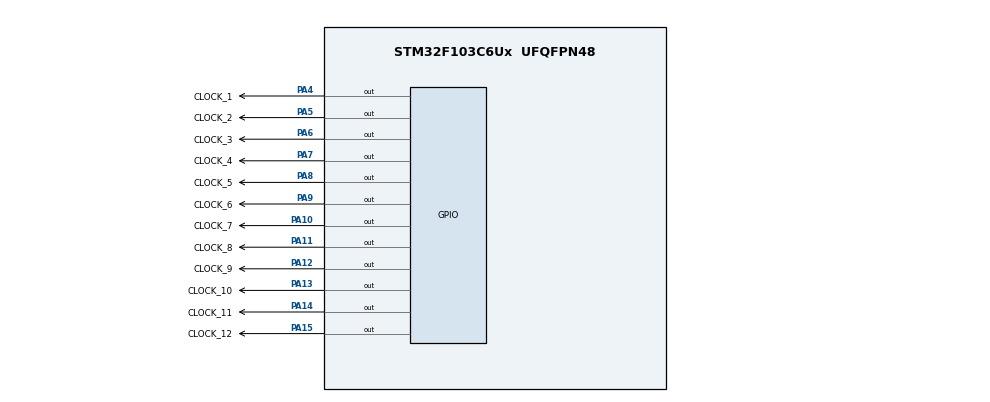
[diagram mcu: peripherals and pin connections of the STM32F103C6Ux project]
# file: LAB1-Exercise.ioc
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Mcu.Family=STM32F1
Mcu.Name=STM32F103C6Ux
Mcu.Package=UFQFPN48
NVIC.PriorityGroup=NVIC_PRIORITYGROUP_4
PA10.GPIO_Label=CLOCK_7
PA10.Signal=GPIO_Output
PA11.GPIO_Label=CLOCK_8
PA11.Signal=GPIO_Output
PA12.GPIO_Label=CLOCK_9
PA12.Signal=GPIO_Output
PA13.GPIO_Label=CLOCK_10
PA13.Signal=GPIO_Output
PA14.GPIO_Label=CLOCK_11
PA14.Signal=GPIO_Output
PA15.GPIO_Label=CLOCK_12
PA15.Signal=GPIO_Output
PA4.GPIO_Label=CLOCK_1
PA4.Signal=GPIO_Output
PA5.GPIO_Label=CLOCK_2
PA5.Signal=GPIO_Output
PA6.GPIO_Label=CLOCK_3
PA6.Signal=GPIO_Output
PA7.GPIO_Label=CLOCK_4
PA7.Signal=GPIO_Output
PA8.GPIO_Label=CLOCK_5
PA8.Signal=GPIO_Output
PA9.GPIO_Label=CLOCK_6
PA9.Signal=GPIO_Output
ProjectManager.HeapSize=0x200
ProjectManager.StackSize=0x400
ProjectManager.TargetToolchain=STM32CubeIDE
RCC.APB1Freq_Value=8000000
RCC.APB2Freq_Value=8000000
VP_SYS_VS_ND.Mode=No_Debug
board=custom

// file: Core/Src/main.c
/* USER CODE BEGIN Header */
/**
  ******************************************************************************
  * @file           : main.c
  * @brief          : Main program body - Exercise 9 (Clockwise OFF)
  ******************************************************************************
  * @attention
  *
  * Copyright (c) 2025.
  * All rights reserved.
  *
  ******************************************************************************
  */
/* USER CODE END Header */
#include "main.h"

void SystemClock_Config(void);
static void MX_GPIO_Init(void);

/* USER CODE BEGIN PFP */
void setNumberOnClock(int num);
void clearNumberOnClock(int num);
void setAllClock(void);
/* USER CODE END PFP */

/* USER CODE BEGIN PV */
int leds[12] = {
    CLOCK_1_Pin, CLOCK_2_Pin, CLOCK_3_Pin, CLOCK_4_Pin,
    CLOCK_5_Pin, CLOCK_6_Pin, CLOCK_7_Pin, CLOCK_8_Pin,
    CLOCK_9_Pin, CLOCK_10_Pin, CLOCK_11_Pin, CLOCK_12_Pin
};
/* USER CODE END PV */

/* USER CODE BEGIN 0 */
void setNumberOnClock(int num) {
    if (num < 0 || num > 11) return;
    HAL_GPIO_WritePin(GPIOA, leds[num], GPIO_PIN_SET);   // bật LED num
}

void clearNumberOnClock(int num) {
    if (num < 0 || num > 11) return;
    HAL_GPIO_WritePin(GPIOA, leds[num], GPIO_PIN_RESET); // tắt LED num
}

void setAllClock(void) {
    for (int i = 0; i < 12; i++) {
        HAL_GPIO_WritePin(GPIOA, leds[i], GPIO_PIN_SET); // bật tất cả LED
    }
}
/* USER CODE END 0 */

int main(void)
{
  HAL_Init();
  SystemClock_Config();
  MX_GPIO_Init();

  /* USER CODE BEGIN 2 */
  setAllClock(); // ban đầu bật sáng hết LED
  /* USER CODE END 2 */

  while (1)
  {
    /* USER CODE BEGIN 3 */
    for (int i = 0; i < 12; i++) {   // chạy 0 → 11 theo chiều kim đồng hồ
      clearNumberOnClock(i);        // tắt LED i
      HAL_Delay(1000);              // delay 1 giây
    }

    // Sau khi tắt hết -> bật lại toàn bộ và lặp lại
    setAllClock();
    HAL_Delay(1000);
    /* USER CODE END 3 */
  }
}

void SystemClock_Config(void)
{
  RCC_OscInitTypeDef RCC_OscInitStruct = {0};
  RCC_ClkInitTypeDef RCC_ClkInitStruct = {0};

  RCC_OscInitStruct.OscillatorType = RCC_OSCILLATORTYPE_HSI;
  RCC_OscInitStruct.HSIState = RCC_HSI_ON;
  RCC_OscInitStruct.HSICalibrationValue = RCC_HSICALIBRATION_DEFAULT;
  RCC_OscInitStruct.PLL.PLLState = RCC_PLL_NONE;
  if (HAL_RCC_OscConfig(&RCC_OscInitStruct) != HAL_OK)
    Error_Handler();

  RCC_ClkInitStruct.ClockType = RCC_CLOCKTYPE_HCLK|RCC_CLOCKTYPE_SYSCLK
                              |RCC_CLOCKTYPE_PCLK1|RCC_CLOCKTYPE_PCLK2;
  RCC_ClkInitStruct.SYSCLKSource = RCC_SYSCLKSOURCE_HSI;
  RCC_ClkInitStruct.AHBCLKDivider = RCC_SYSCLK_DIV1;
  RCC_ClkInitStruct.APB1CLKDivider = RCC_HCLK_DIV1;
  RCC_ClkInitStruct.APB2CLKDivider = RCC_HCLK_DIV1;
  if (HAL_RCC_ClockConfig(&RCC_ClkInitStruct, FLASH_LATENCY_0) != HAL_OK)
    Error_Handler();
}

static void MX_GPIO_Init(void)
{
  GPIO_InitTypeDef GPIO_InitStruct = {0};
  __HAL_RCC_GPIOA_CLK_ENABLE();

  GPIO_InitStruct.Pin = CLOCK_1_Pin|CLOCK_2_Pin|CLOCK_3_Pin|CLOCK_4_Pin|
                        CLOCK_5_Pin|CLOCK_6_Pin|CLOCK_7_Pin|CLOCK_8_Pin|
                        CLOCK_9_Pin|CLOCK_10_Pin|CLOCK_11_Pin|CLOCK_12_Pin;
  GPIO_InitStruct.Mode = GPIO_MODE_OUTPUT_PP;
  GPIO_InitStruct.Pull = GPIO_NOPULL;
  GPIO_InitStruct.Speed = GPIO_SPEED_FREQ_LOW;
  HAL_GPIO_Init(GPIOA, &GPIO_InitStruct);

  setAllClock(); // bật sáng tất cả LED khi khởi động
}

void Error_Handler(void)
{
  __disable_irq();
  while (1) {}
}

/************************ (C) COPYRIGHT STMicroelectronics *****END OF FILE****/
